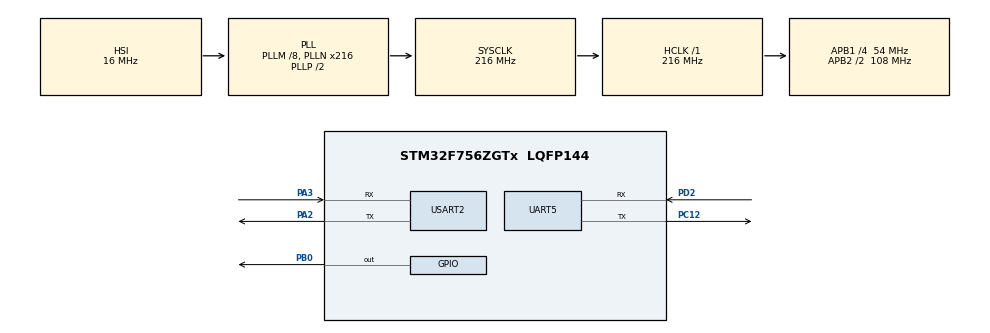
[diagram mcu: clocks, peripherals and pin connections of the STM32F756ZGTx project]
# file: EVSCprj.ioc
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Mcu.Family=STM32F7
Mcu.Name=STM32F756ZGTx
Mcu.Package=LQFP144
NVIC.PriorityGroup=NVIC_PRIORITYGROUP_4
NVIC.UART5_IRQn=true\:0\:0\:false\:false\:true\:true\:true\:true
NVIC.USART2_IRQn=true\:0\:0\:false\:false\:true\:true\:true\:true
PA13.Mode=Serial_Wire
PA13.Signal=SYS_JTMS-SWDIO
PA14.Mode=Serial_Wire
PA14.Signal=SYS_JTCK-SWCLK
PA2.Mode=Asynchronous
PA2.Signal=USART2_TX
PA3.Mode=Asynchronous
PA3.Signal=USART2_RX
PB0.Signal=GPIO_Output
PC12.Mode=Asynchronous
PC12.Signal=UART5_TX
PC14/OSC32_IN.Mode=LSE-External-Oscillator
PC14/OSC32_IN.Signal=RCC_OSC32_IN
PC15/OSC32_OUT.Mode=LSE-External-Oscillator
PC15/OSC32_OUT.Signal=RCC_OSC32_OUT
PD2.Mode=Asynchronous
PD2.Signal=UART5_RX
PH0/OSC_IN.Mode=HSE-External-Oscillator
PH0/OSC_IN.Signal=RCC_OSC_IN
PH1/OSC_OUT.Mode=HSE-External-Oscillator
PH1/OSC_OUT.Signal=RCC_OSC_OUT
ProjectManager.HeapSize=0x200
ProjectManager.StackSize=0x400
ProjectManager.TargetToolchain=STM32CubeIDE
RCC.AHBFreq_Value=216000000
RCC.APB1CLKDivider=RCC_HCLK_DIV4
RCC.APB1Freq_Value=54000000
RCC.APB1TimFreq_Value=108000000
RCC.APB2CLKDivider=RCC_HCLK_DIV2
RCC.APB2Freq_Value=108000000
RCC.APB2TimFreq_Value=216000000
RCC.CortexFreq_Value=216000000
RCC.HCLKFreq_Value=216000000
RCC.HSE_VALUE=25000000
RCC.HSI_VALUE=16000000
RCC.PLLM=8
RCC.PLLN=216
RCC.SYSCLKFreq_VALUE=216000000
RCC.SYSCLKSource=RCC_SYSCLKSOURCE_PLLCLK
RCC.USBFreq_Value=216000000
RCC.VCOOutputFreq_Value=432000000
USART2.VirtualMode-Asynchronous=VM_ASYNC
board=custom

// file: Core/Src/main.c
/* USER CODE BEGIN Header */
/**
  ******************************************************************************
  * @file           : main.c
  * @brief          : Main program body
  ******************************************************************************
  * @attention
  *
  * Copyright (c) 2023 STMicroelectronics.
  * All rights reserved.
  *
  * This software is licensed under terms that can be found in the LICENSE file
  * in the root directory of this software component.
  * If no LICENSE file comes with this software, it is provided AS-IS.
  *
  ******************************************************************************
  */
/* USER CODE END Header */
#include "main.h"

/* USER CODE BEGIN PM */
uint8_t rxData = 0;
uint8_t rxData2 = 0;
/* USER CODE END PM */

UART_HandleTypeDef huart5;
UART_HandleTypeDef huart2;

/* USER CODE BEGIN PV */
void HAL_UART_RxCpltCallback(UART_HandleTypeDef *huart)
{
	HAL_UART_Receive_IT(&huart2, &rxData, 1);
	HAL_UART_Receive_IT(&huart5, &rxData2, 1);
}
/* USER CODE END PV */

void SystemClock_Config(void);
static void MX_GPIO_Init(void);
static void MX_UART5_Init(void);
static void MX_USART2_UART_Init(void);

/* USER CODE BEGIN 0 */
uint8_t txData = 'T';
uint8_t txData2 = 'T';
/* USER CODE END 0 */

int main(void)
{

  /* MCU Configuration--------------------------------------------------------*/

  /* Reset of all peripherals, Initializes the Flash interface and the Systick. */
  HAL_Init();

  /* Configure the system clock */
  SystemClock_Config();

  /* Initialize all configured peripherals */
  MX_GPIO_Init();
  MX_UART5_Init();
  MX_USART2_UART_Init();
  /* USER CODE BEGIN 2 */
  uint8_t txData = 'B';
  uint8_t txData2 = 'B';
  HAL_UART_Receive_IT(&huart2, &rxData, 1);
  HAL_UART_Receive_IT(&huart5, &rxData2, 1);

  /* USER CODE END 2 */

  /* Infinite loop */
  /* USER CODE BEGIN WHILE */
  while (1)
  {
	  txData++;
	  txData2++;
	  HAL_Delay(50);
	  HAL_UART_Transmit(&huart2, &txData, 1, 10);
	  HAL_UART_Transmit(&huart5, &txData2, 1, 10);
	  HAL_UART_Receive(&huart2, &rxData, 1, 10);
	  HAL_UART_Receive(&huart5, &rxData2, 1, 10);
    /* USER CODE END WHILE */

  }
}

void SystemClock_Config(void)
{
  RCC_OscInitTypeDef RCC_OscInitStruct = {0};
  RCC_ClkInitTypeDef RCC_ClkInitStruct = {0};

  /** Configure LSE Drive Capability
  */
  HAL_PWR_EnableBkUpAccess();

  /** Configure the main internal regulator output voltage
  */
  __HAL_RCC_PWR_CLK_ENABLE();
  __HAL_PWR_VOLTAGESCALING_CONFIG(PWR_REGULATOR_VOLTAGE_SCALE1);

  /** Initializes the RCC Oscillators according to the specified parameters
  * in the RCC_OscInitTypeDef structure.
  */
  RCC_OscInitStruct.OscillatorType = RCC_OSCILLATORTYPE_HSI;
  RCC_OscInitStruct.HSIState = RCC_HSI_ON;
  RCC_OscInitStruct.HSICalibrationValue = RCC_HSICALIBRATION_DEFAULT;
  RCC_OscInitStruct.PLL.PLLState = RCC_PLL_ON;
  RCC_OscInitStruct.PLL.PLLSource = RCC_PLLSOURCE_HSI;
  RCC_OscInitStruct.PLL.PLLM = 8;
  RCC_OscInitStruct.PLL.PLLN = 216;
  RCC_OscInitStruct.PLL.PLLP = RCC_PLLP_DIV2;
  RCC_OscInitStruct.PLL.PLLQ = 2;
  if (HAL_RCC_OscConfig(&RCC_OscInitStruct) != HAL_OK)
  {
    Error_Handler();
  }

  /** Activate the Over-Drive mode
  */
  if (HAL_PWREx_EnableOverDrive() != HAL_OK)
  {
    Error_Handler();
  }

  /** Initializes the CPU, AHB and APB buses clocks
  */
  RCC_ClkInitStruct.ClockType = RCC_CLOCKTYPE_HCLK|RCC_CLOCKTYPE_SYSCLK
                              |RCC_CLOCKTYPE_PCLK1|RCC_CLOCKTYPE_PCLK2;
  RCC_ClkInitStruct.SYSCLKSource = RCC_SYSCLKSOURCE_PLLCLK;
  RCC_ClkInitStruct.AHBCLKDivider = RCC_SYSCLK_DIV1;
  RCC_ClkInitStruct.APB1CLKDivider = RCC_HCLK_DIV4;
  RCC_ClkInitStruct.APB2CLKDivider = RCC_HCLK_DIV2;

  if (HAL_RCC_ClockConfig(&RCC_ClkInitStruct, FLASH_LATENCY_7) != HAL_OK)
  {
    Error_Handler();
  }
}

static void MX_UART5_Init(void)
{

  huart5.Instance = UART5;
  huart5.Init.BaudRate = 115200;
  huart5.Init.WordLength = UART_WORDLENGTH_8B;
  huart5.Init.StopBits = UART_STOPBITS_1;
  huart5.Init.Parity = UART_PARITY_NONE;
  huart5.Init.Mode = UART_MODE_TX_RX;
  huart5.Init.HwFlowCtl = UART_HWCONTROL_NONE;
  huart5.Init.OverSampling = UART_OVERSAMPLING_16;
  huart5.Init.OneBitSampling = UART_ONE_BIT_SAMPLE_DISABLE;
  huart5.AdvancedInit.AdvFeatureInit = UART_ADVFEATURE_NO_INIT;
  if (HAL_UART_Init(&huart5) != HAL_OK)
  {
    Error_Handler();
  }

}

static void MX_USART2_UART_Init(void)
{

  huart2.Instance = USART2;
  huart2.Init.BaudRate = 115200;
  huart2.Init.WordLength = UART_WORDLENGTH_8B;
  huart2.Init.StopBits = UART_STOPBITS_1;
  huart2.Init.Parity = UART_PARITY_NONE;
  huart2.Init.Mode = UART_MODE_TX_RX;
  huart2.Init.HwFlowCtl = UART_HWCONTROL_NONE;
  huart2.Init.OverSampling = UART_OVERSAMPLING_16;
  huart2.Init.OneBitSampling = UART_ONE_BIT_SAMPLE_DISABLE;
  huart2.AdvancedInit.AdvFeatureInit = UART_ADVFEATURE_NO_INIT;
  if (HAL_UART_Init(&huart2) != HAL_OK)
  {
    Error_Handler();
  }

}

static void MX_GPIO_Init(void)
{
  GPIO_InitTypeDef GPIO_InitStruct = {0};

  /* GPIO Ports Clock Enable */
  __HAL_RCC_GPIOC_CLK_ENABLE();
  __HAL_RCC_GPIOH_CLK_ENABLE();
  __HAL_RCC_GPIOA_CLK_ENABLE();
  __HAL_RCC_GPIOB_CLK_ENABLE();
  __HAL_RCC_GPIOD_CLK_ENABLE();

  /*Configure GPIO pin Output Level */
  HAL_GPIO_WritePin(GPIOB, GPIO_PIN_0, GPIO_PIN_RESET);

  /*Configure GPIO pin : PB0 */
  GPIO_InitStruct.Pin = GPIO_PIN_0;
  GPIO_InitStruct.Mode = GPIO_MODE_OUTPUT_PP;
  GPIO_InitStruct.Pull = GPIO_NOPULL;
  GPIO_InitStruct.Speed = GPIO_SPEED_FREQ_LOW;
  HAL_GPIO_Init(GPIOB, &GPIO_InitStruct);

}

void Error_Handler(void)
{
  __disable_irq();
  while (1)
  {
  }
}
